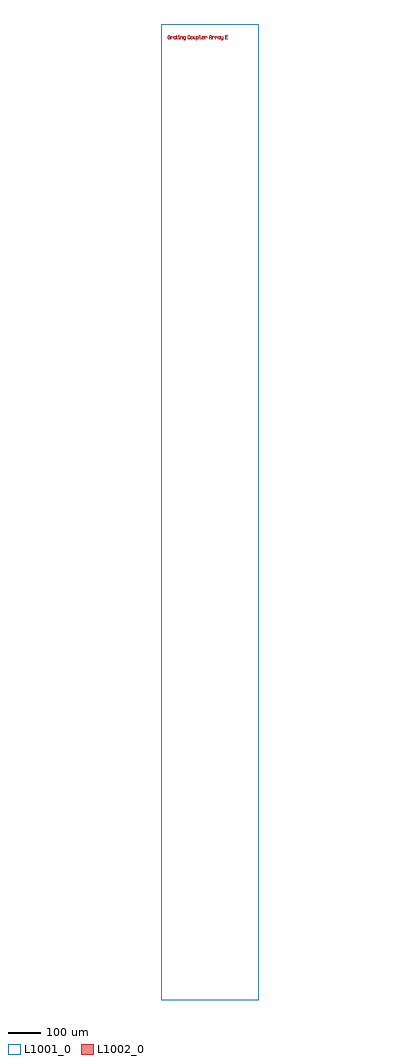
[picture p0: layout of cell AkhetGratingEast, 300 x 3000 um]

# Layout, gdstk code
import gdstk
lib = gdstk.Library(unit=1e-6, precision=1e-09)
def R(c, l, rs):  # rectangles x0, y0, x1, y1
    for r in rs: c.add(gdstk.rectangle(r[:2], r[2:], *l))
def P(c, l, *ps):  # polygons
    for p in ps: c.add(gdstk.Polygon(p, *l))
L1001_0 = (1001, 0)
L1002_0 = (1002, 0)

akhetgratingeast = lib.new_cell('AkhetGratingEast')
R(akhetgratingeast, L1001_0, [(-300,-3000,0,0)])
R(akhetgratingeast, L1002_0, [(-247,-36.5,-244,-35)])
P(akhetgratingeast, L1002_0, [(-278.061,-47),(-280,-45.061),(-280,-36.939),(-278.061,-35),(-274,-35),(-274,-36.5),(-277.439,-36.5),(-278.5,-37.561),(-278.5,-44.439),(-277.439,-45.5),(-275.061,-45.5),(-274,-44.439),(-274,-41),(-275.5,-41),(-275.5,-39.5),(-272.5,-39.5),(-272.5,-45.061),(-274.439,-47)],
  [(-271,-47),(-271,-38),(-265.439,-38),(-263.5,-39.939),(-263.5,-41.75),(-265,-41.75),(-265,-40.561),(-266.061,-39.5),(-269.5,-39.5),(-269.5,-47)],
  [(-260.061,-47),(-262,-45.061),(-262,-39.939),(-260.061,-38),(-257.5,-38),(-257.5,-39.5),(-259.439,-39.5),(-260.5,-40.561),(-260.5,-44.439),(-259.439,-45.5),(-256,-45.5),(-256,-38),(-254.5,-38),(-254.5,-47)],
  [(-251.061,-47),(-253,-45.061),(-253,-35),(-251.5,-35),(-251.5,-39.5),(-250,-39.5),(-250,-41),(-251.5,-41),(-251.5,-44.439),(-250.439,-45.5),(-248.5,-45.5),(-248.5,-47)],
  [(-245.5,-47),(-245.5,-39.5),(-247,-39.5),(-247,-38),(-244,-38),(-244,-45.5),(-242.5,-45.5),(-242.5,-47)],
  [(-241,-47),(-241,-38),(-235.439,-38),(-233.5,-39.939),(-233.5,-47),(-235,-47),(-235,-40.561),(-236.061,-39.5),(-239.5,-39.5),(-239.5,-47)],
  [(-230.5,-50),(-230.5,-48.5),(-227.061,-48.5),(-226,-47.439),(-226,-39.5),(-229.439,-39.5),(-230.5,-40.561),(-230.5,-44.439),(-229.439,-45.5),(-227.5,-45.5),(-227.5,-47),(-230.061,-47),(-232,-45.061),(-232,-39.939),(-230.061,-38),(-224.5,-38),(-224.5,-48.061),(-226.439,-50)],
  [(-216.561,-47),(-218.5,-45.061),(-218.5,-36.939),(-216.561,-35),(-212.939,-35),(-211,-36.939),(-211,-39.5),(-212.5,-39.5),(-212.5,-37.561),(-213.561,-36.5),(-215.939,-36.5),(-217,-37.561),(-217,-44.439),(-215.939,-45.5),(-213.561,-45.5),(-212.5,-44.439),(-212.5,-42.5),(-211,-42.5),(-211,-45.061),(-212.939,-47)],
  [(-207.561,-47),(-209.5,-45.061),(-209.5,-43.25),(-208,-43.25),(-208,-44.439),(-206.939,-45.5),(-204.561,-45.5),(-203.5,-44.439),(-203.5,-40.561),(-204.561,-39.5),(-206.939,-39.5),(-208,-40.561),(-208,-41.75),(-209.5,-41.75),(-209.5,-39.939),(-207.561,-38),(-203.939,-38),(-202,-39.939),(-202,-45.061),(-203.939,-47)],
  [(-198.561,-47),(-200.5,-45.061),(-200.5,-38),(-199,-38),(-199,-44.439),(-197.939,-45.5),(-195.561,-45.5),(-194.5,-44.439),(-194.5,-38),(-193,-38),(-193,-45.061),(-194.939,-47)],
  [(-191.5,-50),(-191.5,-38),(-185.939,-38),(-184,-39.939),(-184,-45.061),(-185.939,-47),(-188.5,-47),(-188.5,-45.5),(-186.561,-45.5),(-185.5,-44.439),(-185.5,-40.561),(-186.561,-39.5),(-190,-39.5),(-190,-50)],
  [(-179.061,-47),(-181,-45.061),(-181,-36.5),(-182.5,-36.5),(-182.5,-35),(-179.5,-35),(-179.5,-44.439),(-178.439,-45.5),(-176.5,-45.5),(-176.5,-47)],
  [(-173.061,-47),(-175,-45.061),(-175,-39.939),(-173.061,-38),(-169.439,-38),(-167.5,-39.939),(-167.5,-42.5),(-172,-42.5),(-172,-41),(-169,-41),(-169,-40.561),(-170.061,-39.5),(-172.439,-39.5),(-173.5,-40.561),(-173.5,-44.439),(-172.439,-45.5),(-169,-45.5),(-169,-47)],
  [(-166,-47),(-166,-38),(-160.439,-38),(-158.5,-39.939),(-158.5,-41.75),(-160,-41.75),(-160,-40.561),(-161.061,-39.5),(-164.5,-39.5),(-164.5,-47)],
  [(-152.5,-47),(-152.5,-38.573),(-150.713,-35),(-146.786,-35),(-145,-38.573),(-145,-47),(-146.5,-47),(-146.5,-42.5),(-148,-42.5),(-148,-41),(-146.5,-41),(-146.5,-38.927),(-147.713,-36.5),(-149.786,-36.5),(-151,-38.927),(-151,-41),(-149.5,-41),(-149.5,-42.5),(-151,-42.5),(-151,-47)],
  [(-143.5,-47),(-143.5,-38),(-137.939,-38),(-136,-39.939),(-136,-41.75),(-137.5,-41.75),(-137.5,-40.561),(-138.561,-39.5),(-142,-39.5),(-142,-47)],
  [(-134.5,-47),(-134.5,-38),(-128.939,-38),(-127,-39.939),(-127,-41.75),(-128.5,-41.75),(-128.5,-40.561),(-129.561,-39.5),(-133,-39.5),(-133,-47)],
  [(-123.561,-47),(-125.5,-45.061),(-125.5,-39.939),(-123.561,-38),(-121,-38),(-121,-39.5),(-122.939,-39.5),(-124,-40.561),(-124,-44.439),(-122.939,-45.5),(-119.5,-45.5),(-119.5,-38),(-118,-38),(-118,-47)],
  [(-115,-50),(-115,-48.5),(-111.561,-48.5),(-110.5,-47.439),(-110.5,-47),(-114.561,-47),(-116.5,-45.061),(-116.5,-38),(-115,-38),(-115,-44.439),(-113.939,-45.5),(-110.5,-45.5),(-110.5,-38),(-109,-38),(-109,-48.061),(-110.939,-50)],
  [(-103,-47),(-103,-35),(-95.5,-35),(-95.5,-36.5),(-101.5,-36.5),(-101.5,-39.5),(-97,-39.5),(-97,-41),(-101.5,-41),(-101.5,-45.5),(-95.5,-45.5),(-95.5,-47)])

lib.write_gds('AkhetGratingEast.gds')
